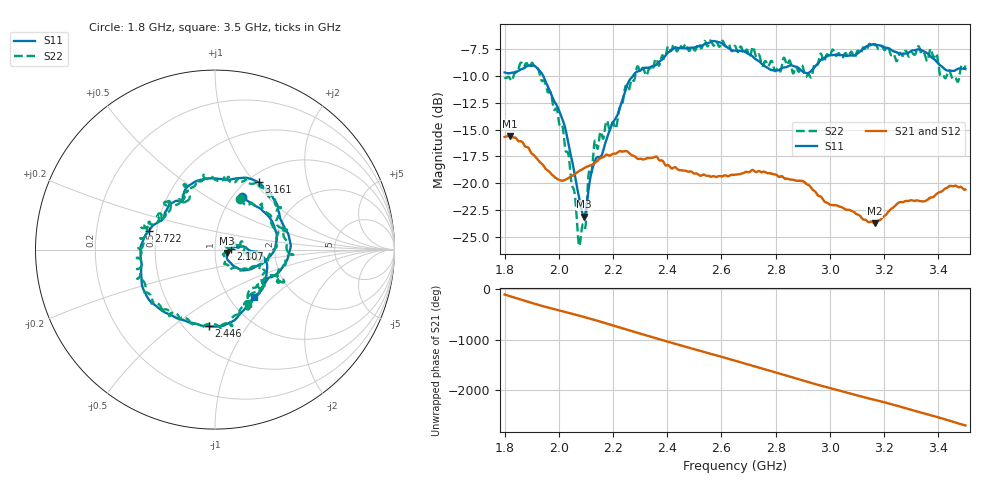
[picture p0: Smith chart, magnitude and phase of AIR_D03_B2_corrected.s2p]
! Created with skrf 1.9.0 (http://scikit-rf.org).
# Hz S RI R 50.0
!freq ReS11 ImS11 ReS21 ImS21 ReS12 ImS12 ReS22 ImS22
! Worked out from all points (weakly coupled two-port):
!   1601 points, 1.8 GHz to 3.5 GHz, reference 50 ohm
!   highest |S21| = -15.59 dB at 1.818 GHz (marker M1); lowest = -23.7 dB at 3.165 GHz (marker M2)
!   lowest |S11| = -23.1 dB at 2.093 GHz (marker M3), VSWR 1.15, Z = 57.2 - j2.11 ohm
!   |S11| at or under -10 dB: 1.943 GHz to 2.273 GHz (329.6 MHz wide, 15.6 % of centre)
!   |S22| runs from -25.9 to -6.7 dB; largest |S21 - S12| = 0.0029
!   S11 on the Smith chart (normalised r, x): 1.8 GHz: 1.10, +0.72; 2.107 GHz: 1.19, +0.01; 2.446 GHz: 0.65, -0.68; 2.722 GHz: 0.45, +0.11; 3.161 GHz: 1.12, +1.05; 3.5 GHz: 1.30, -0.77
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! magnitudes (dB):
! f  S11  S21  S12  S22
! 1.8 GHz  -9.6  -15.7  -15.7  -10.1
! 1.818 GHz  -9.7  -15.6  -15.6  -10.1
! 1.903 GHz  -9.0  -17.3  -17.3  -8.8
! 1.968 GHz  -11.5  -19.0  -19.0  -11.4
! 2.022 GHz  -14.7  -19.7  -19.7  -16.5
! 2.073 GHz  -21.1  -18.9  -18.9  -25.6
! 2.084 GHz  -22.5  -18.7  -18.7  -24.4
! 2.093 GHz  -23.1  -18.6  -18.6  -24.0
! 2.107 GHz  -21.1  -18.4  -18.4  -20.0
! 2.135 GHz  -17.8  -18.1  -18.1  -16.0
! 2.259 GHz  -10.4  -17.2  -17.2  -11.3
! 2.367 GHz  -8.7  -17.7  -17.7  -9.0
! 2.446 GHz  -7.4  -18.8  -18.8  -7.1
! 2.65 GHz  -7.6  -19.2  -19.2  -7.2
! 2.722 GHz  -8.3  -18.9  -18.8  -7.7
! 2.934 GHz  -9.4  -20.5  -20.5  -10.0
! 3.161 GHz  -7.0  -23.7  -23.7  -7.2
! 3.165 GHz  -7.0  -23.7  -23.7  -7.0
! 3.217 GHz  -7.4  -22.6  -22.6  -7.4
! 3.375 GHz  -8.2  -21.3  -21.3  -7.6
! 3.467 GHz  -9.4  -20.3  -20.3  -10.3
! 3.5 GHz  -9.3  -20.6  -20.6  -9.0
